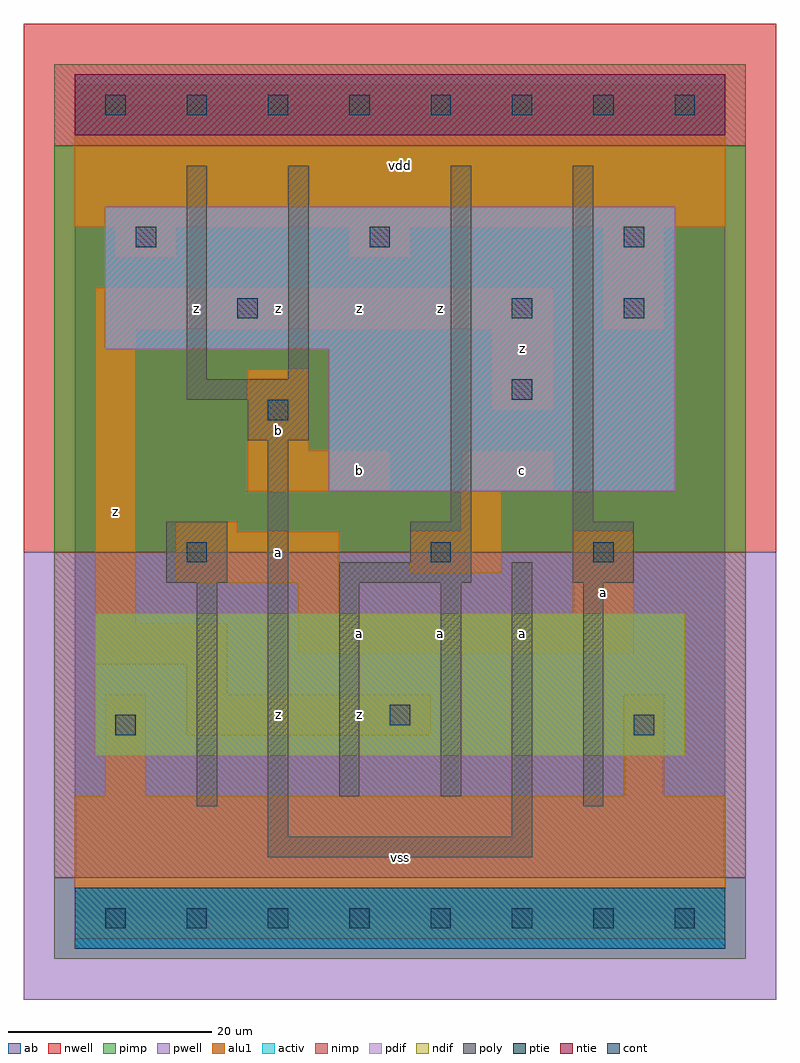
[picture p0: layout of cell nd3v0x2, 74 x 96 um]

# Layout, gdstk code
import gdstk
lib = gdstk.Library(unit=1e-6, precision=1e-09)
def R(c, l, rs):  # rectangles x0, y0, x1, y1
    for r in rs: c.add(gdstk.rectangle(r[:2], r[2:], *l))
def A(c, l, x, y, w, h, nx, ny, dx, dy):  # array of equal rectangles
    R(c, l, [(x+i*dx, y+j*dy, x+i*dx+w, y+j*dy+h) for i in range(nx) for j in range(ny)])
ndif = (3, 0)
pdif = (4, 0)
ntie = (5, 0)
ptie = (6, 0)
cont = (25, 0)
pwell = (41, 0)
nwell = (42, 0)
activ = (43, 0)
pimp = (44, 0)
nimp = (45, 0)
poly = (46, 0)
alu1 = (49, 0)
ab = (63, 0)

nd3v0x2 = lib.new_cell('nd3v0x2')
R(nd3v0x2, ndif, [(2,16,60,30)])
R(nd3v0x2, pdif, [(25,42,59,56), (3,56,59,70)])
R(nd3v0x2, ntie, [(0,77,64,83)])
R(nd3v0x2, ptie, [(0,-3,64,3)])
A(nd3v0x2, cont, 3, -1, 2, 2, 8, 2, 8, 80)
R(nd3v0x2, cont, [(4,18,6,20), (55,18,57,20), (31,19,33,21), (11,35,13,37), (35,35,37,37), (51,35,53,37), (19,49,21,51), (43,51,45,53), (16,59,18,61), (43,59,45,61), (54,59,56,61), (6,66,8,68), (29,66,31,68), (54,66,56,68)])
R(nd3v0x2, pwell, [(-5,-8,69,36)])
R(nd3v0x2, nwell, [(-5,36,69,88)])
R(nd3v0x2, activ, [(0,-3,64,3), (2,16,60,30), (25,42,59,56), (3,56,59,70), (0,77,64,83)])
R(nd3v0x2, pimp, [(-2,-4,66,4), (-2,36,66,76)])
R(nd3v0x2, nimp, [(-2,4,66,36), (-2,76,66,84)])
R(nd3v0x2, poly, [(19,6,45,8), (19,8,21,47), (43,8,45,35), (12,11,14,33), (50,11,52,33), (26,12,28,33), (36,12,38,33), (9,33,15,39), (26,33,39,35), (49,33,55,39), (33,35,39,39), (37,39,39,74), (49,39,51,74), (17,47,23,51), (11,51,23,53), (11,53,13,74), (21,53,23,74)])
R(nd3v0x2, alu1, [(0,-2,64,12), (3,12,7,22), (54,12,58,22), (11,18,35,22), (11,22,15,25), (2,25,15,29), (22,26,55,30), (2,29,6,58), (22,30,26,33), (49,30,55,38), (10,33,26,38), (33,34,42,38), (10,38,16,39), (38,38,42,42), (17,42,31,46), (38,42,47,46), (17,46,23,54), (41,50,47,58), (2,58,47,62), (52,58,58,68), (4,65,10,68), (27,65,33,68), (0,68,64,82)])
R(nd3v0x2, ab, [(0,0,64,80)])
nd3v0x2.add(gdstk.Label('z', (4,40), layer=49, texttype=0))
nd3v0x2.add(gdstk.Label('z', (12,60), layer=49, texttype=0))
nd3v0x2.add(gdstk.Label('z', (20,20), layer=49, texttype=0))
nd3v0x2.add(gdstk.Label('z', (28,20), layer=49, texttype=0))
nd3v0x2.add(gdstk.Label('a', (28,28), layer=49, texttype=0))
nd3v0x2.add(gdstk.Label('a', (20,36), layer=49, texttype=0))
nd3v0x2.add(gdstk.Label('b', (28,44), layer=49, texttype=0))
nd3v0x2.add(gdstk.Label('b', (20,48), layer=49, texttype=0))
nd3v0x2.add(gdstk.Label('z', (20,60), layer=49, texttype=0))
nd3v0x2.add(gdstk.Label('z', (28,60), layer=49, texttype=0))
nd3v0x2.add(gdstk.Label('vss', (32,6), layer=49, texttype=0))
nd3v0x2.add(gdstk.Label('a', (36,28), layer=49, texttype=0))
nd3v0x2.add(gdstk.Label('a', (44,28), layer=49, texttype=0))
nd3v0x2.add(gdstk.Label('c', (44,44), layer=49, texttype=0))
nd3v0x2.add(gdstk.Label('z', (44,56), layer=49, texttype=0))
nd3v0x2.add(gdstk.Label('z', (36,60), layer=49, texttype=0))
nd3v0x2.add(gdstk.Label('vdd', (32,74), layer=49, texttype=0))
nd3v0x2.add(gdstk.Label('a', (52,32), layer=49, texttype=0))

lib.write_gds('nd3v0x2.gds')
